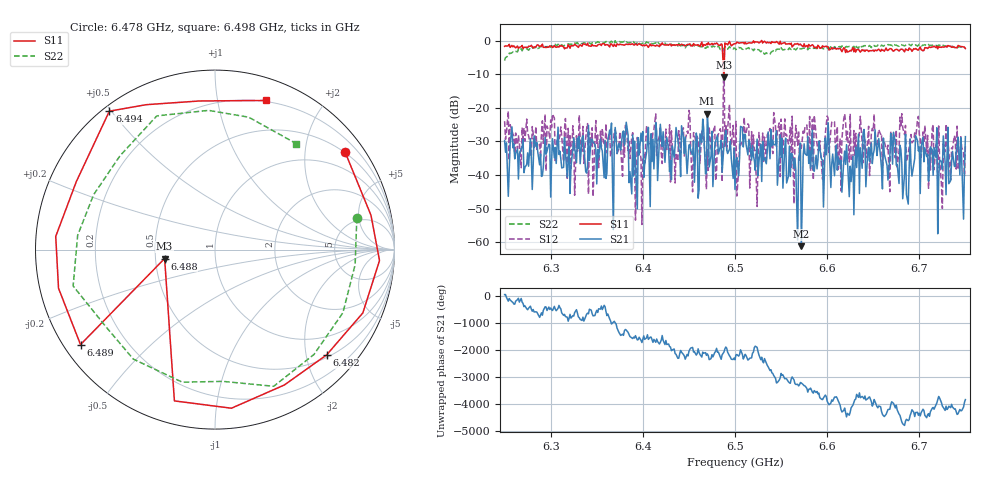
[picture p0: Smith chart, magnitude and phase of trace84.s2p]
# Hz S RI R 50
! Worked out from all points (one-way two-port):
!   401 points, 6.25 GHz to 6.75 GHz, reference 50 ohm
!   highest |S21| = -21.76 dB at 6.47 GHz (marker M1); lowest = -61.1 dB at 6.572 GHz (marker M2)
!   lowest |S11| = -10.9 dB at 6.488 GHz (marker M3), VSWR 1.80, Z = 28 - j3.02 ohm
!   |S11| at or under -10 dB: 6.487814 GHz to 6.488089 GHz (274.3 kHz wide, 0.00423 % of centre)
!   |S22| runs from -6.0 to -0.1 dB; largest |S21 - S12| = 0.74
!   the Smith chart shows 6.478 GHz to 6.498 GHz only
!   S11 on the Smith chart (normalised r, x): 6.478 GHz: 0.49, +2.94; 6.482 GHz: 0.55, -2.41; 6.488 GHz: 0.56, -0.06; 6.489 GHz: 0.05, -0.32; 6.494 GHz: 0.02, +0.49; 6.498 GHz: 0.19, +1.38
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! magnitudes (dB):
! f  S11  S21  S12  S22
! 6.25 GHz  -1.7  -29.7  -24.0  -6.0
! 6.334 GHz  -1.7  -29.1  -32.9  -0.9
! 6.4 GHz  -1.6  -27.1  -35.6  -0.8
! 6.418 GHz  -1.8  -29.2  -28.5  -1.1
! 6.449 GHz  -1.2  -35.5  -27.6  -1.1
! 6.47 GHz  -1.2  -21.8  -32.2  -1.8
! 6.478 GHz  -0.9  -31.5  -25.3  -1.8
! 6.482 GHz  -1.4  -33.7  -27.8  -1.6
! 6.488 GHz  -10.9  -31.2  -2.7  -2.6
! 6.489 GHz  -0.7  -28.6  -31.4  -1.8
! 6.494 GHz  -0.3  -32.3  -19.0  -1.8
! 6.498 GHz  -1.1  -41.0  -25.2  -2.6
! 6.5 GHz  -0.9  -44.3  -31.8  -2.3
! 6.509 GHz  -0.6  -31.6  -28.5  -2.6
! 6.572 GHz  -1.4  -61.1  -32.0  -2.5
! 6.584 GHz  -1.2  -26.6  -23.4  -2.4
! 6.668 GHz  -2.4  -34.7  -44.9  -1.3
! 6.681 GHz  -2.6  -36.4  -21.7  -1.3
! 6.716 GHz  -1.7  -31.9  -38.4  -1.3
! 6.722 GHz  -2.0  -35.6  -35.2  -1.4
! 6.729 GHz  -1.7  -45.8  -24.9  -1.7
! 6.75 GHz  -2.4  -28.6  -31.1  -2.3
